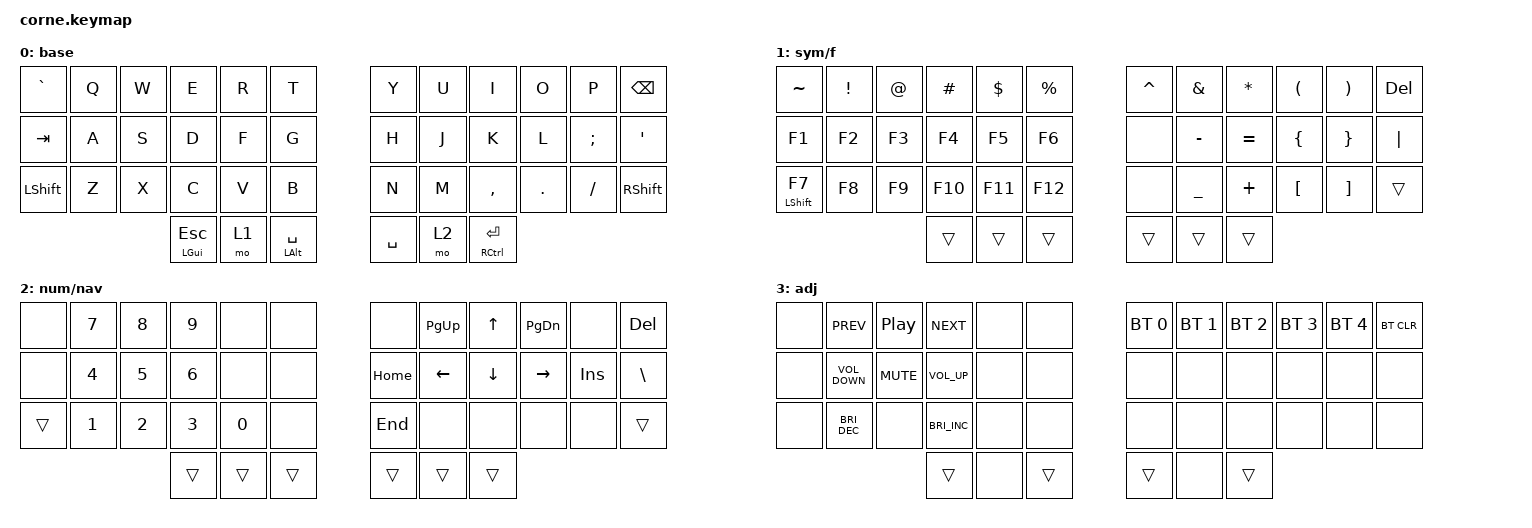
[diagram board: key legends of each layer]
/*
 * Copyright (c) 2020 The ZMK Contributors
 *
 * SPDX-License-Identifier: MIT
 */

#include <behaviors.dtsi>
#include <dt-bindings/zmk/bt.h>
#include <dt-bindings/zmk/keys.h>

/ {
    conditional_layers {
        compatible = "zmk,conditional-layers";

        tri_layer {
            if-layers = <1 2>;
            then-layer = <3>;
        };
    };

    behaviors {
        mttp: mttp {
            compatible = "zmk,behavior-hold-tap";
            label = "Mod/Tap Tap Preferred";
            bindings = <&kp>, <&kp>;

            #binding-cells = <2>;
            tapping-term-ms = <125>;
            flavor = "tap-preferred";
        };
    };

    keymap {
        compatible = "zmk,keymap";

        default_layer {
            display-name = "base";
            bindings = <
&kp GRAVE       &kp Q  &kp W  &kp E                &kp R  &kp T                   &kp Y      &kp U  &kp I                    &kp O    &kp P          &kp BSPC
&kp TAB         &kp A  &kp S  &kp D                &kp F  &kp G                   &kp H      &kp J  &kp K                    &kp L    &kp SEMICOLON  &kp SQT
&kp LEFT_SHIFT  &kp Z  &kp X  &kp C                &kp V  &kp B                   &kp N      &kp M  &kp COMMA                &kp DOT  &kp FSLH       &kp RIGHT_SHIFT
                              &mt LEFT_GUI ESCAPE  &mo 1  &mttp LEFT_ALT SPACE    &kp SPACE  &mo 2  &mt RIGHT_CONTROL ENTER
            >;
        };

        symbols_and_f {
            display-name = "sym/f";
            bindings = <
&kp TILDE          &kp EXCL  &kp AT  &kp HASH  &kp DLLR  &kp PRCNT    &kp CARET  &kp AMPS   &kp STAR   &kp LEFT_PARENTHESIS  &kp RIGHT_PARENTHESIS  &kp DELETE
&kp F1             &kp F2    &kp F3  &kp F4    &kp F5    &kp F6       &none      &kp MINUS  &kp EQUAL  &kp LEFT_BRACE        &kp RIGHT_BRACE        &kp PIPE
&mt LEFT_SHIFT F7  &kp F8    &kp F9  &kp F10   &kp F11   &kp F12      &none      &kp UNDER  &kp PLUS   &kp LEFT_BRACKET      &kp RIGHT_BRACKET      &trans
                                     &trans    &trans    &trans       &trans     &trans     &trans
            >;
        };

        numbers_and_nav {
            display-name = "num/nav";
            bindings = <
&none   &kp N7  &kp N8  &kp N9  &none   &none     &none     &kp PAGE_UP  &kp UP_ARROW  &kp PAGE_DOWN  &none    &kp DELETE
&none   &kp N4  &kp N5  &kp N6  &none   &none     &kp HOME  &kp LEFT     &kp DOWN      &kp RIGHT      &kp INS  &kp BACKSLASH
&trans  &kp N1  &kp N2  &kp N3  &kp N0  &none     &kp END   &none        &none         &none          &none    &trans
                        &trans  &trans  &trans    &trans    &trans       &trans
            >;
        };

        adjust {
            bindings = <
&none  &kp C_PREV            &kp C_PLAY_PAUSE  &kp C_NEXT            &none  &none     &bt BT_SEL 0  &bt BT_SEL 1  &bt BT_SEL 2  &bt BT_SEL 3  &bt BT_SEL 4  &bt BT_CLR
&none  &kp C_VOLUME_DOWN     &kp C_MUTE        &kp C_VOL_UP          &none  &none     &none         &none         &none         &none         &none         &none
&none  &kp C_BRIGHTNESS_DEC  &none             &kp C_BRIGHTNESS_INC  &none  &none     &none         &none         &none         &none         &none         &none
                                               &trans                &none  &trans    &trans        &none         &trans
            >;

            label = "adj";
        };
    };
};
